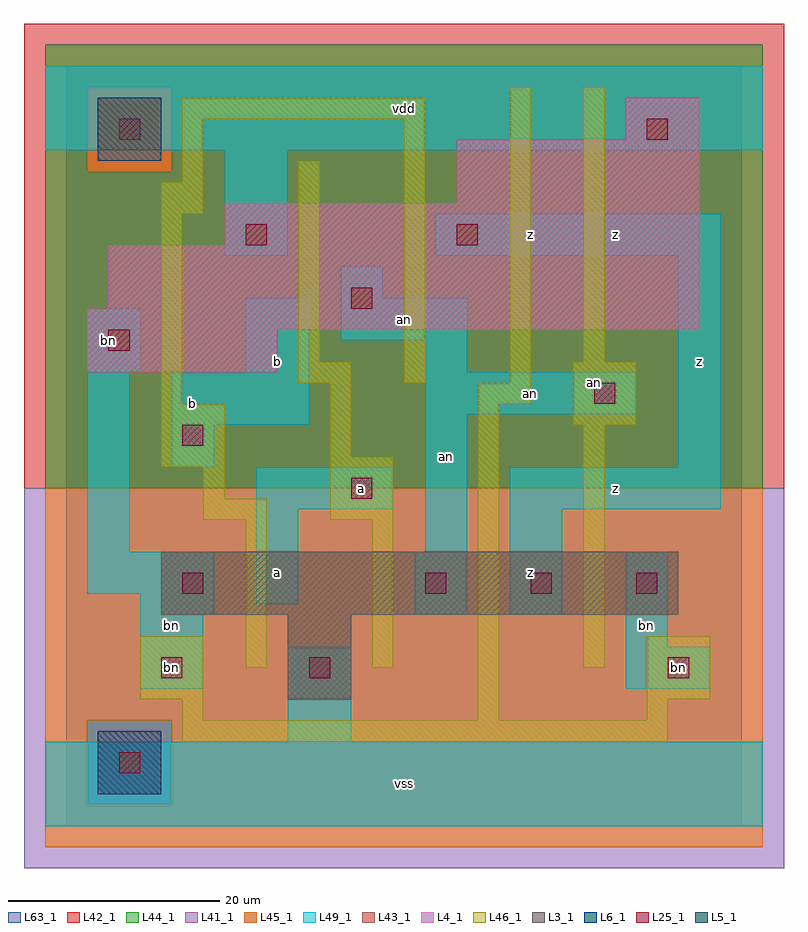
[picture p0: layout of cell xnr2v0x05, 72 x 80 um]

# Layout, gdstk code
import gdstk
lib = gdstk.Library(unit=1e-6, precision=1e-09)
def R(c, l, rs):  # rectangles x0, y0, x1, y1
    for r in rs: c.add(gdstk.rectangle(r[:2], r[2:], *l))
def A(c, l, x, y, w, h, nx, ny, dx, dy):  # array of equal rectangles
    R(c, l, [(x+i*dx, y+j*dy, x+i*dx+w, y+j*dy+h) for i in range(nx) for j in range(ny)])
L3_1 = (3, 1)
L4_1 = (4, 1)
L5_1 = (5, 1)
L6_1 = (6, 1)
L25_1 = (25, 1)
L41_1 = (41, 1)
L42_1 = (42, 1)
L43_1 = (43, 1)
L44_1 = (44, 1)
L45_1 = (45, 1)
L46_1 = (46, 1)
L49_1 = (49, 1)
L63_1 = (63, 1)

xnr2v0x05 = lib.new_cell('xnr2v0x05')
R(xnr2v0x05, L3_1, [(21,12,27,20), (9,20,58,26)])
R(xnr2v0x05, L4_1, [(2,43,20,47), (2,47,60,49), (4,49,60,55), (15,55,60,59), (37,59,60,65), (53,65,60,69)])
R(xnr2v0x05, L5_1, [(3,63,9,69)])
R(xnr2v0x05, L6_1, [(3,3,9,9), (3,3,9,9)])
A(xnr2v0x05, L25_1, 34, 22, 2, 2, 3, 1, 10, 0)
R(xnr2v0x05, L25_1, [(5,5,7,7), (9,14,11,16), (23,14,25,16), (57,14,59,16), (11,22,13,24), (27,31,29,33), (11,36,13,38), (50,40,52,42), (4,45,6,47), (27,49,29,51), (17,55,19,57), (37,55,39,57), (5,65,7,67), (55,65,57,67)])
R(xnr2v0x05, L41_1, [(-4,-4,68,32)])
R(xnr2v0x05, L42_1, [(-4,32,68,76)])
R(xnr2v0x05, L43_1, [(3,3,9,9), (21,12,27,20), (9,20,58,26), (2,43,20,47), (2,47,60,49), (4,49,60,55), (15,55,60,59), (37,59,60,65), (3,63,9,69), (53,65,60,69)])
R(xnr2v0x05, L44_1, [(2,2,10,10), (-2,32,66,62), (-2,62,2,70), (10,62,66,70), (-2,70,66,74)])
R(xnr2v0x05, L45_1, [(-2,-2,66,2), (-2,2,2,10), (10,2,66,10), (-2,10,66,32), (2,62,10,70)])
R(xnr2v0x05, L46_1, [(11,8,57,10), (11,10,13,12), (39,10,41,40), (55,10,57,12), (7,12,13,18), (55,12,61,18), (17,15,19,29), (29,15,31,29), (49,15,51,38), (13,29,19,31), (25,29,31,35), (13,31,15,34), (9,34,15,40), (25,35,27,42), (48,38,54,44), (9,40,11,58), (39,40,44,42), (22,42,27,44), (32,42,34,67), (42,42,44,70), (22,44,24,63), (49,44,51,70), (9,58,13,61), (11,61,13,67), (11,67,34,69)])
R(xnr2v0x05, L49_1, [(-2,0,66,8), (21,8,27,17), (7,13,13,20), (53,13,61,17), (53,17,57,26), (7,20,14,22), (33,20,38,26), (42,20,47,30), (18,21,22,30), (2,22,14,26), (2,26,6,43), (34,26,38,39), (18,30,31,34), (42,30,62,34), (10,34,14,38), (58,34,62,54), (10,38,23,43), (34,39,54,43), (2,43,7,49), (17,43,23,50), (34,43,38,46), (26,46,38,50), (26,50,30,53), (15,54,21,64), (35,54,62,58), (-2,64,66,72)])
R(xnr2v0x05, L63_1, [(0,0,64,72)])
xnr2v0x05.add(gdstk.Label('bn', (10,15), layer=49, texttype=1))
xnr2v0x05.add(gdstk.Label('bn', (58,15), layer=49, texttype=1))
xnr2v0x05.add(gdstk.Label('an', (50,42), layer=49, texttype=1))
xnr2v0x05.add(gdstk.Label('bn', (10,19), layer=49, texttype=1))
xnr2v0x05.add(gdstk.Label('b', (12,40), layer=49, texttype=1))
xnr2v0x05.add(gdstk.Label('bn', (4,46), layer=49, texttype=1))
xnr2v0x05.add(gdstk.Label('a', (28,32), layer=49, texttype=1))
xnr2v0x05.add(gdstk.Label('a', (20,24), layer=49, texttype=1))
xnr2v0x05.add(gdstk.Label('b', (20,44), layer=49, texttype=1))
xnr2v0x05.add(gdstk.Label('vss', (32,4), layer=49, texttype=1))
xnr2v0x05.add(gdstk.Label('z', (44,24), layer=49, texttype=1))
xnr2v0x05.add(gdstk.Label('an', (36,35), layer=49, texttype=1))
xnr2v0x05.add(gdstk.Label('an', (32,48), layer=49, texttype=1))
xnr2v0x05.add(gdstk.Label('z', (44,56), layer=49, texttype=1))
xnr2v0x05.add(gdstk.Label('vdd', (32,68), layer=49, texttype=1))
xnr2v0x05.add(gdstk.Label('bn', (55,19), layer=49, texttype=1))
xnr2v0x05.add(gdstk.Label('z', (52,32), layer=49, texttype=1))
xnr2v0x05.add(gdstk.Label('an', (44,41), layer=49, texttype=1))
xnr2v0x05.add(gdstk.Label('z', (60,44), layer=49, texttype=1))
xnr2v0x05.add(gdstk.Label('z', (52,56), layer=49, texttype=1))

lib.write_gds('xnr2v0x05.gds')
